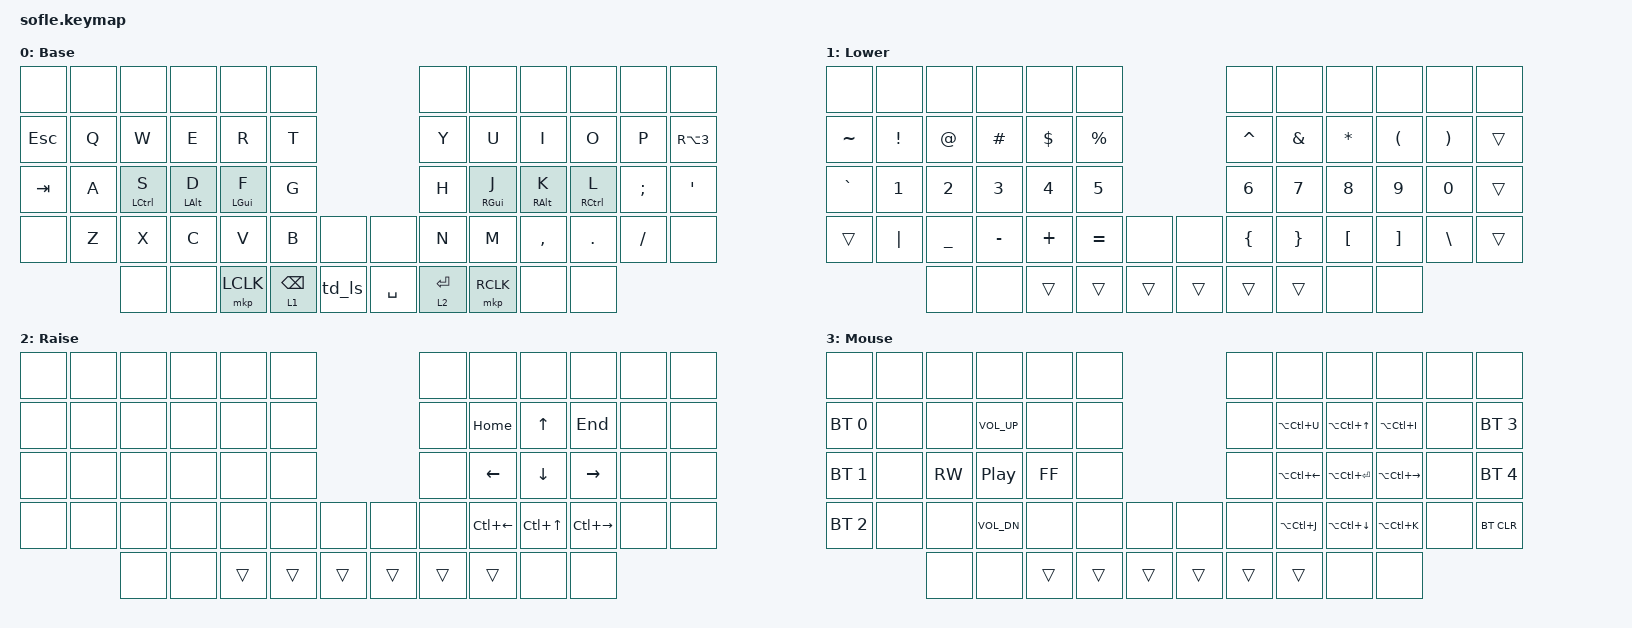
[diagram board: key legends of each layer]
#include <behaviors.dtsi>
#include <dt-bindings/zmk/bt.h>
#include <dt-bindings/zmk/keys.h>
#include <dt-bindings/zmk/pointing.h>

/ {
    conditional_layers {
        compatible = "zmk,conditional-layers";

        snap_layer {
            if-layers = <1 2>;
            then-layer = <3>;
        };
    };

    behaviors {
        td_ls: td_ls {
            compatible = "zmk,behavior-tap-dance";
            label = "TD_LS";
            #binding-cells = <0>;
            bindings = <&sk_qr LEFT_SHIFT>, <&caps_word>, <&kp CAPSLOCK>;

            tapping-term-ms = <500>;
        };

        td_rs: td_rs {
            compatible = "zmk,behavior-tap-dance";
            label = "TD_RS";
            #binding-cells = <0>;
            bindings = <&sk_qr RIGHT_SHIFT>, <&caps_word>, <&kp CAPSLOCK>;

            tapping-term-ms = <500>;
        };

        ht_hrm: ht_hrm {
            compatible = "zmk,behavior-hold-tap";
            label = "HT_HRM";
            bindings = <&kp>, <&kp>;

            #binding-cells = <2>;
            flavor = "balanced";
            tapping-term-ms = <300>;
            require-prior-idle-ms = <150>;
            retro-tap;
        };

        ht_mo: ht_mo {
            compatible = "zmk,behavior-hold-tap";
            label = "HT_MO";
            bindings = <&mo>, <&kp>;

            #binding-cells = <2>;
            flavor = "balanced";
            tapping-term-ms = <300>;
            require-prior-idle-ms = <150>;
            retro-tap;
        };

        sk_qr: sk_qr {
            compatible = "zmk,behavior-sticky-key";
            label = "SK_QR";
            bindings = <&kp>;
            #binding-cells = <1>;
            release-after-ms = <5000>;
            quick-release;
            lazy;
            ignore-modifiers;
        };
    };

    keymap {
        compatible = "zmk,keymap";

        LUKE {
            display-name = "Base";
            bindings = <
&none    &none  &none                   &none               &none               &none                                    &none         &none                &none                &none                    &none     &none
&kp ESC  &kp Q  &kp W                   &kp E               &kp R               &kp T                                    &kp Y         &kp U                &kp I                &kp O                    &kp P     &kp RA(NUMBER_3)
&kp TAB  &kp A  &ht_hrm LEFT_CONTROL S  &ht_hrm LEFT_ALT D  &ht_hrm LEFT_GUI F  &kp G                                    &kp H         &ht_hrm RIGHT_GUI J  &ht_hrm RIGHT_ALT K  &ht_hrm RIGHT_CONTROL L  &kp SEMI  &kp SQT
&none    &kp Z  &kp X                   &kp C               &kp V               &kp B               &none     &none      &kp N         &kp M                &kp COMMA            &kp DOT                  &kp FSLH  &none
                &none                   &none               &mkp LCLK           &ht_mo 1 BACKSPACE  &td_ls    &kp SPACE  &ht_mo 2 RET  &mkp RCLK            &none                &none
            >;

            label = "LUKE";
        };

        SYMBOL {
            display-name = "Lower";
            bindings = <
&none      &none            &none      &none      &none       &none                          &none           &none            &none             &none                 &none                  &none
&kp TILDE  &kp EXCLAMATION  &kp AT     &kp HASH   &kp DOLLAR  &kp PERCENT                    &kp CARET       &kp AMPERSAND    &kp ASTERISK      &kp LEFT_PARENTHESIS  &kp RIGHT_PARENTHESIS  &trans
&kp GRAVE  &kp N1           &kp N2     &kp N3     &kp N4      &kp N5                         &kp N6          &kp N7           &kp N8            &kp N9                &kp N0                 &trans
&trans     &kp PIPE         &kp UNDER  &kp MINUS  &kp PLUS    &kp EQUAL    &none     &none   &kp LEFT_BRACE  &kp RIGHT_BRACE  &kp LEFT_BRACKET  &kp RIGHT_BRACKET     &kp BACKSLASH          &trans
                            &none      &none      &trans      &trans       &trans    &trans  &trans          &trans           &none             &none
            >;

            label = "SYM";
        };

        NAVIGATION {
            display-name = "Raise";
            bindings = <
&none  &none  &none  &none  &none   &none                     &none   &none         &none             &none          &none  &none
&none  &none  &none  &none  &none   &none                     &none   &kp HOME      &kp UP            &kp END        &none  &none
&none  &none  &none  &none  &none   &none                     &none   &kp LEFT      &kp DOWN          &kp RIGHT      &none  &none
&none  &none  &none  &none  &none   &none   &none     &none   &none   &kp LC(LEFT)  &kp LC(UP_ARROW)  &kp LC(RIGHT)  &none  &none
              &none  &none  &trans  &trans  &trans    &trans  &trans  &trans        &none             &none
            >;

            label = "NAV";
        };

        SNAP {
            display-name = "Mouse";
            bindings = <
&none         &none  &none     &none         &none     &none                     &none   &none             &none             &none              &none  &none
&bt BT_SEL 0  &none  &none     &kp C_VOL_UP  &none     &none                     &none   &kp LA(LC(U))     &kp LA(LC(UP))    &kp LA(LC(I))      &none  &bt BT_SEL 3
&bt BT_SEL 1  &none  &kp C_RW  &kp C_PP      &kp C_FF  &none                     &none   &kp LA(LC(LEFT))  &kp LA(LC(RET))   &kp LA(LC(RIGHT))  &none  &bt BT_SEL 4
&bt BT_SEL 2  &none  &none     &kp C_VOL_DN  &none     &none   &none     &none   &none   &kp LA(LC(J))     &kp LA(LC(DOWN))  &kp LA(LC(K))      &none  &bt BT_CLR
                     &none     &none         &trans    &trans  &trans    &trans  &trans  &trans            &none             &none
            >;

            label = "SNAP";
        };
    };
};
